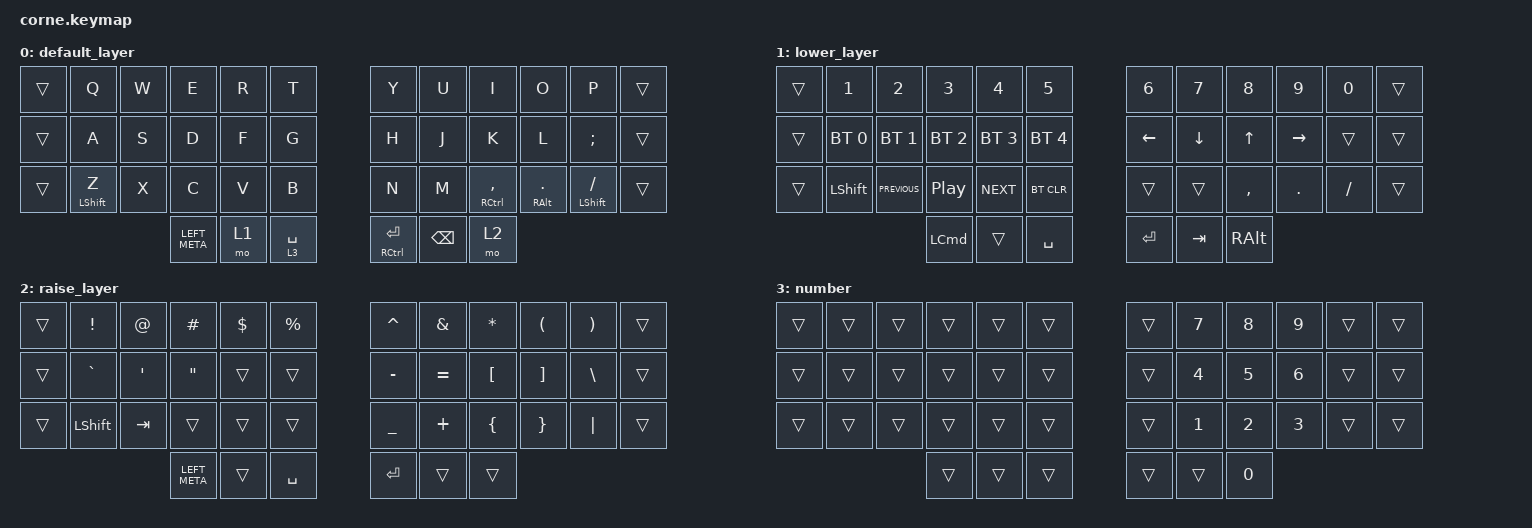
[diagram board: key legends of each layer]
/*
 * Copyright (c) 2020 The ZMK Contributors
 *
 * SPDX-License-Identifier: MIT
 */

#include <behaviors.dtsi>
#include <dt-bindings/zmk/bt.h>
#include <dt-bindings/zmk/keys.h>

/ {
    combos {
        compatible = "zmk,combos";

        Escape {
            bindings = <&kp ESCAPE>;
            key-positions = <18 19>;
        };

        lctrl {
            bindings = <&kp LCTRL>;
            key-positions = <16 15>;
        };

        rightctrl {
            bindings = <&kp RCTRL>;
            key-positions = <19 20>;
        };
    };

    macros {
        meh: meh {
            compatible = "zmk,behavior-macro";
            #binding-cells = <0>;
            bindings = <&kp LCTRL &kp LEFT_ALT &kp LCTRL>;
            label = "MEH";
        };
    };

    keymap {
        compatible = "zmk,keymap";

        default_layer {
            // -----------------------------------------------------------------------------------------
            // |  TAB |  Q  |  W  |  E  |  R  |  T  |   |  Y  |  U   |  I  |  O  |  P  | BKSP |
            // | CTRL |  A  |  S  |  D  |  F  |  G  |   |  H  |  J   |  K  |  L  |  ;  |  '   |
            // | SHFT |  Z  |  X  |  C  |  V  |  B  |   |  N  |  M   |  ,  |  .  |  /  | ESC  |
            //                    | GUI | LWR | SPC |   | ENT | RSE  | ALT |

            bindings = <
&trans  &kp Q             &kp W  &kp E          &kp R  &kp T          &kp Y          &kp U          &kp I            &kp O                 &kp P                 &trans
&trans  &kp A             &kp S  &kp D          &kp F  &kp G          &kp H          &kp J          &kp K            &kp L                 &kp SEMICOLON         &trans
&trans  &mt LEFT_SHIFT Z  &kp X  &kp C          &kp V  &kp B          &kp N          &kp M          &mt RCTRL COMMA  &mt RIGHT_ALT PERIOD  &mt LEFT_SHIFT SLASH  &trans
                                 &kp LEFT_META  &mo 1  &lt 3 SPACE    &mt RCTRL RET  &kp BACKSPACE  &mo 2
            >;
        };

        lower_layer {
            // -----------------------------------------------------------------------------------------
            // |  TAB |  1  |  2  |  3  |  4  |  5  |   |  6  |  7  |  8  |  9  |  0  | BKSP |
            // | BTCLR| BT1 | BT2 | BT3 | BT4 | BT5 |   | LFT | DWN |  UP | RGT |     |      |
            // | SHFT |     |     |     |     |     |   |     |     |     |     |     |      |
            //                    | GUI |     | SPC |   | ENT |     | ALT |

            bindings = <
&trans  &kp N1          &kp N2          &kp N3            &kp N4        &kp N5          &kp N6    &kp N7    &kp N8     &kp N9      &kp N0     &trans
&trans  &bt BT_SEL 0    &bt BT_SEL 1    &bt BT_SEL 2      &bt BT_SEL 3  &bt BT_SEL 4    &kp LEFT  &kp DOWN  &kp UP     &kp RIGHT   &trans     &trans
&trans  &kp LEFT_SHIFT  &kp C_PREVIOUS  &kp C_PLAY_PAUSE  &kp C_NEXT    &bt BT_CLR      &trans    &trans    &kp COMMA  &kp PERIOD  &kp SLASH  &trans
                                        &kp LEFT_COMMAND  &trans        &kp SPACE       &kp RET   &kp TAB   &kp RALT
            >;
        };

        raise_layer {
            // -----------------------------------------------------------------------------------------
            // |  TAB |  !  |  @  |  #  |  $  |  %  |   |  ^  |  &  |  *  |  (  |  )  | BKSP |
            // | CTRL |     |     |     |     |     |   |  -  |  =  |  [  |  ]  |  \  |  `   |
            // | SHFT |     |     |     |     |     |   |  _  |  +  |  {  |  }  | "|" |  ~   |
            //                    | GUI |     | SPC |   | ENT |     | ALT |

            bindings = <
&trans  &kp EXCL        &kp AT            &kp HASH           &kp DLLR  &kp PRCNT    &kp CARET  &kp AMPS   &kp ASTRK  &kp LPAR  &kp RPAR  &trans
&trans  &kp GRAVE       &kp SINGLE_QUOTE  &kp DOUBLE_QUOTES  &trans    &trans       &kp MINUS  &kp EQUAL  &kp LBKT   &kp RBKT  &kp BSLH  &trans
&trans  &kp LEFT_SHIFT  &kp TAB           &trans             &trans    &trans       &kp UNDER  &kp PLUS   &kp LBRC   &kp RBRC  &kp PIPE  &trans
                                          &kp LEFT_META      &trans    &kp SPACE    &kp RET    &trans     &trans
            >;
        };

        number {
            bindings = <
&trans  &trans  &trans  &trans  &trans  &trans    &trans  &kp N7        &kp N8        &kp N9        &trans  &trans
&trans  &trans  &trans  &trans  &trans  &trans    &trans  &kp NUMBER_4  &kp N5        &kp NUMBER_6  &trans  &trans
&trans  &trans  &trans  &trans  &trans  &trans    &trans  &kp NUMBER_1  &kp NUMBER_2  &kp NUMBER_3  &trans  &trans
                        &trans  &trans  &trans    &trans  &trans        &kp N0
            >;
        };
    };
};
